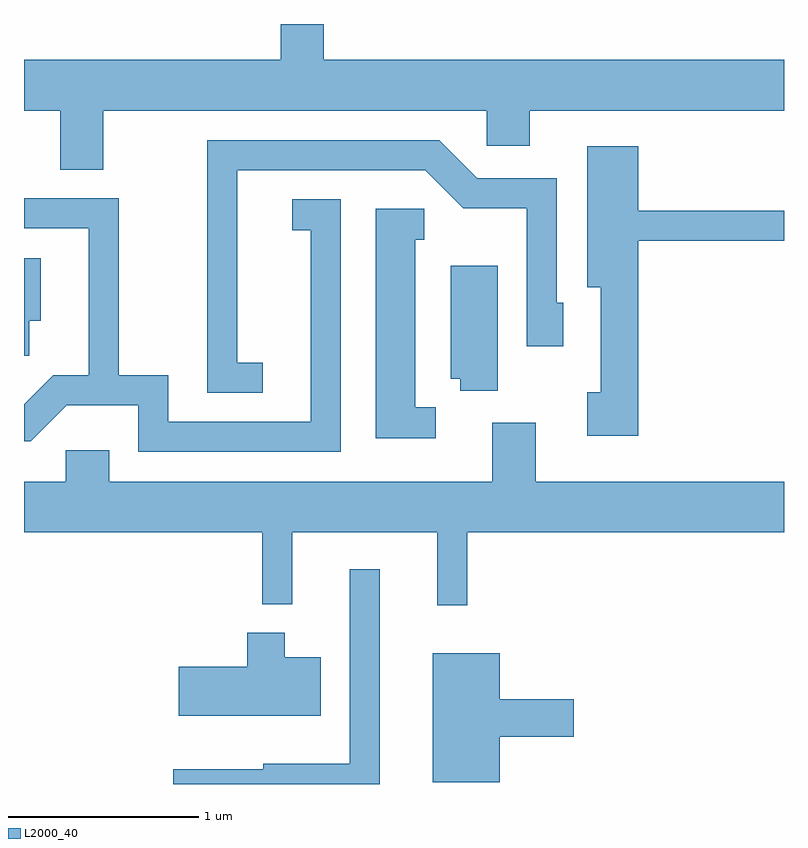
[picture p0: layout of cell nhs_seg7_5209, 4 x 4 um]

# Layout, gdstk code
import gdstk
lib = gdstk.Library(unit=1e-6, precision=1e-09)
def P(c, l, *ps):  # polygons
    for p in ps: c.add(gdstk.Polygon(p, *l))
L2000_40 = (2000, 40)

nhs_seg7_5209 = lib.new_cell('nhs_seg7_5209')
P(nhs_seg7_5209, L2000_40, [(344.029,1789.796),(346.046,1789.796),(346.046,1789.611),(346.274,1789.611),(346.274,1789.796),(347.611,1789.796),(347.611,1790.064),(345.189,1790.064),(345.189,1790.252),(344.961,1790.252),(344.961,1790.064),(343.611,1790.064),(343.611,1789.796),(343.801,1789.796),(343.801,1789.486),(344.029,1789.486)],
  [(344.868,1788.469),(344.734,1788.469),(344.734,1789.481),(345.724,1789.481),(345.924,1789.281),(346.256,1789.281),(346.256,1788.556),(346.449,1788.556),(346.449,1788.784),(346.414,1788.784),(346.414,1789.439),(345.997,1789.439),(345.797,1789.639),(344.576,1789.639),(344.576,1788.311),(344.868,1788.311)],
  [(346.844,1789.111),(347.611,1789.111),(347.611,1789.269),(346.844,1789.269),(346.844,1789.609),(346.576,1789.609),(346.576,1788.866),(346.646,1788.866),(346.646,1788.314),(346.576,1788.314),(346.576,1788.086),(346.844,1788.086)],
  [(345.279,1789.329),(345.023,1789.329),(345.023,1789.166),(345.121,1789.166),(345.121,1788.159),(344.369,1788.159),(344.369,1788.404),(344.109,1788.404),(344.109,1789.334),(343.611,1789.334),(343.611,1789.176),(343.951,1789.176),(343.951,1788.404),(343.764,1788.404),(343.611,1788.251),(343.611,1788.056),(343.647,1788.056),(343.837,1788.246),(344.211,1788.246),(344.211,1788.001),(345.279,1788.001)],
  [(345.778,1788.234),(345.669,1788.234),(345.669,1789.116),(345.718,1789.116),(345.718,1789.279),(345.461,1789.279),(345.461,1788.071),(345.778,1788.071)],
  [(343.639,1788.691),(343.699,1788.691),(343.699,1789.019),(343.611,1789.019),(343.611,1788.506),(343.639,1788.506)],
  [(346.104,1788.979),(345.856,1788.979),(345.856,1788.386),(345.906,1788.386),(345.906,1788.321),(346.104,1788.321)],
  [(345.944,1787.576),(347.611,1787.576),(347.611,1787.844),(346.304,1787.844),(346.304,1788.154),(346.076,1788.154),(346.076,1787.844),(344.059,1787.844),(344.059,1788.009),(343.831,1788.009),(343.831,1787.844),(343.611,1787.844),(343.611,1787.576),(344.866,1787.576),(344.866,1787.198),(345.024,1787.198),(345.024,1787.576),(345.786,1787.576),(345.786,1787.193),(345.944,1787.193)],
  [(345.484,1787.383),(345.326,1787.383),(345.326,1786.359),(344.871,1786.359),(344.871,1786.329),(344.396,1786.329),(344.396,1786.252),(345.484,1786.252)],
  [(345.174,1786.919),(344.984,1786.919),(344.984,1787.049),(344.786,1787.049),(344.786,1786.869),(344.426,1786.869),(344.426,1786.611),(345.174,1786.611)],
  [(346.114,1786.501),(346.504,1786.501),(346.504,1786.699),(346.114,1786.699),(346.114,1786.939),(345.761,1786.939),(345.761,1786.261),(346.114,1786.261)])

lib.write_gds('nhs_seg7_5209.gds')
